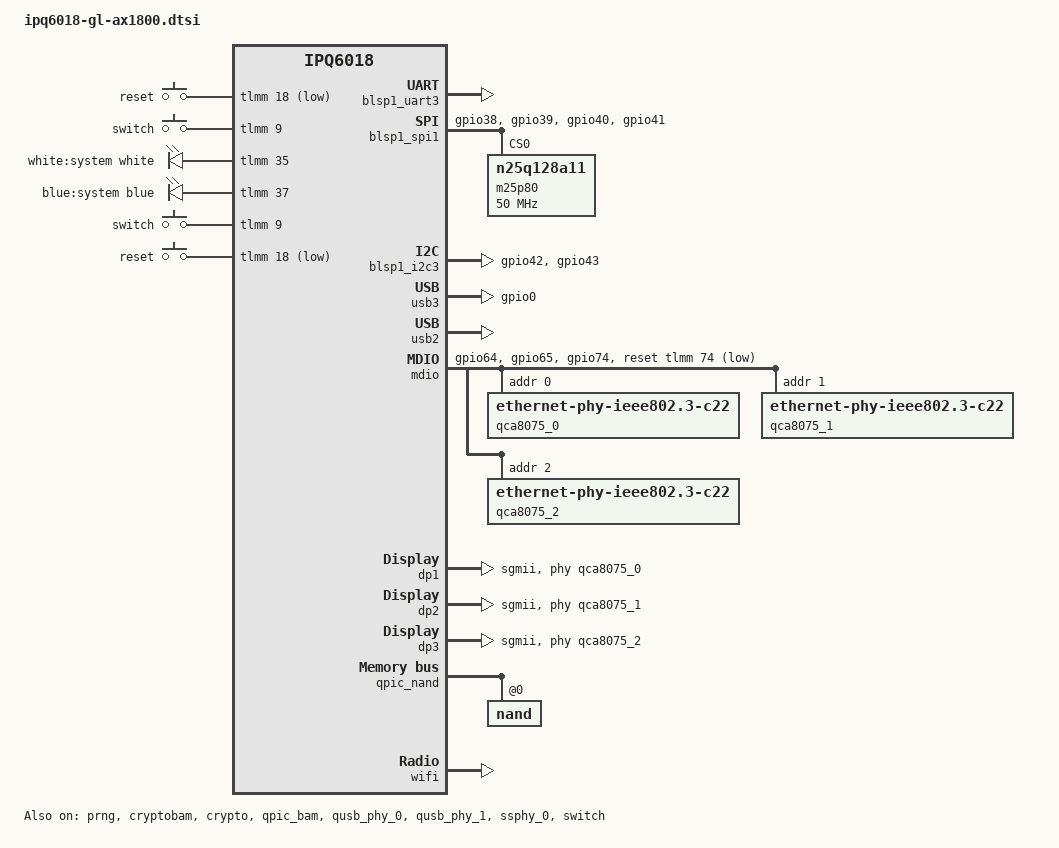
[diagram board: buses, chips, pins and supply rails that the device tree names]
/*
 * Copyright (c) 2019, The Linux Foundation. All rights reserved.
 *
 * Permission to use, copy, modify, and/or distribute this software for any
 * purpose with or without fee is hereby granted, provided that the above
 * copyright notice and this permission notice appear in all copies.
 *
 * THE SOFTWARE IS PROVIDED "AS IS" AND THE AUTHOR DISCLAIMS ALL WARRANTIES
 * WITH REGARD TO THIS SOFTWARE INCLUDING ALL IMPLIED WARRANTIES OF
 * MERCHANTABILITY AND FITNESS. IN NO EVENT SHALL THE AUTHOR BE LIABLE FOR
 * ANY SPECIAL, DIRECT, INDIRECT, OR CONSEQUENTIAL DAMAGES OR ANY DAMAGES
 * WHATSOEVER RESULTING FROM LOSS OF USE, DATA OR PROFITS, WHETHER IN AN
 * ACTION OF CONTRACT, NEGLIGENCE OR OTHER TORTIOUS ACTION, ARISING OUT OF
 * OR IN CONNECTION WITH THE USE OR PERFORMANCE OF THIS SOFTWARE.
 */

#include "ipq6018.dtsi"
#include "ipq6018-ess.dtsi"
#include "ipq6018-512m.dtsi"


#include <dt-bindings/input/input.h>
#include <dt-bindings/gpio/gpio.h>
#include <dt-bindings/leds/common.h>

/ {
	aliases {
		ethernet0 = &dp1;
		ethernet1 = &dp2;
		ethernet2 = &dp3;
		label-mac-device = &dp1;
        serial0 = &blsp1_uart3;
		led-boot = &led_system_white;
		led-failsafe = &led_system_white;
		led-running = &led_system_white;
		led-upgrade = &led_system_white;
	};

	/delete-node/ rpm-glink;

	chosen {
		stdout-path = "serial0:115200n8";
		bootargs-append = " root=/dev/ubiblock0_1";
	};


    keys {
        compatible = "gpio-keys";

        reset {
            label = "reset";
            gpios = <&tlmm 18 GPIO_ACTIVE_LOW>;
            linux,code = <KEY_RESTART>;
        };

        switch {
            label = "switch";
            gpios = <&tlmm 9 GPIO_ACTIVE_HIGH>;
			linux,code = <KEY_WPS_BUTTON>;
		};
    };

    leds {
        compatible = "gpio-leds";

        led_system_white: system-white {
            label = "white:system";
            gpios = <&tlmm 35 GPIO_ACTIVE_HIGH>;
            color = <LED_COLOR_ID_WHITE>;
        };

        led_system_blue: system-blue {
            label = "blue:system";
            gpios = <&tlmm 37 GPIO_ACTIVE_HIGH>;
            color = <LED_COLOR_ID_BLUE>;
        };
    };
};

&tlmm {
	gpio-reserved-ranges = <20 1>;

	spi_1_pins: spi_1_pins {
		mux {
			pins = "gpio38", "gpio39", "gpio40", "gpio41";
			function = "blsp0_spi";
			drive-strength = <8>;
			bias-pull-down;
		};
	};

	button_pins: button_pins {
		switch_button {
			pins = "gpio9";
			function = "gpio";
			drive-strength = <8>;
			bias-pull-up;
		};
		reset_button {
			pins = "gpio18";
			function = "gpio";
			drive-strength = <8>;
			bias-pull-up;
		};
	};

	mdio_pins: mdio-pins {
		mdc {
			pins = "gpio64";
			function = "mdc";
			drive-strength = <8>;
			bias-pull-up;
		};

		mdio {
			pins = "gpio65";
			function = "mdio";
			drive-strength = <8>;
			bias-pull-up;
		};

		mux_2 {
			pins = "gpio74";
			function = "gpio";
			bias-pull-up;
		};
	};

	usb_power_pins: usb_power_pins {
		mux {
			pins = "gpio0";
			function = "gpio";
			bias-pull-up;
			output-high;
		};
	};

	leds_pins: leds_pins {
		white {
			pins = "gpio35";
			function = "gpio";
			drive-strength = <8>;
			bias-pull-down;
		};
		blue {
			pins = "gpio37";
			function = "gpio";
			drive-strength = <8>;
			bias-pull-down;
		};
	};

	i2c_1_pins: i2c_1_pins {
		mux {
			pins = "gpio42", "gpio43";
			function = "blsp2_i2c";
			drive-strength = <8>;
			bias-pull-down;
		};
	};
};

&blsp1_uart3 {
	pinctrl-0 = <&serial_3_pins>;
	pinctrl-names = "default";
	status = "okay";
};

&blsp1_spi1 {
	pinctrl-0 = <&spi_1_pins>;
	pinctrl-names = "default";
	cs-select = <0>;
	status = "okay";

	m25p80@0 {
		#address-cells = <1>;
		#size-cells = <1>;
		reg = <0>;
		compatible = "n25q128a11";
		linux,modalias = "m25p80", "n25q128a11";
		spi-max-frequency = <50000000>;
		use-default-sizes;
	};
};

&blsp1_i2c3 {
	pinctrl-0 = <&i2c_1_pins>;
	pinctrl-names = "default";
	status = "okay";
};

&prng {
	status = "okay";
};

&cryptobam {
	status = "okay";
};

&crypto {
	status = "okay";
};

&qpic_bam {
	status = "okay";
};

&qusb_phy_0 {
	status = "okay";
};

&qusb_phy_1 {
	status = "okay";
};


&ssphy_0 {
	status = "okay";
};

&usb3 {
	pinctrl-0 = <&usb_power_pins>;
	pinctrl-names = "default";
	status = "okay";
};

&usb2 {
	status = "okay";
};

&edma {
	status = "okay";
};

&mdio {
	status = "okay";

	pinctrl-0 = <&mdio_pins>;
	pinctrl-names = "default";
	reset-gpios = <&tlmm 74 GPIO_ACTIVE_LOW>;

	qca8075_0: ethernet-phy@0 {
		compatible = "ethernet-phy-ieee802.3-c22";
		reg = <0>;
	};

	qca8075_1: ethernet-phy@1 {
		compatible = "ethernet-phy-ieee802.3-c22";
		reg = <1>;
	};

	qca8075_2: ethernet-phy@2 {
		compatible = "ethernet-phy-ieee802.3-c22";
		reg = <2>;
	};

};

&switch {
	status = "okay";

	switch_cpu_bmp = <0x1>;  /* cpu port bitmap */
	switch_lan_bmp = <0x0c>; /* lan port bitmap */
	switch_wan_bmp = <0x02>; /* wan port bitmap */
	switch_mac_mode = <0x0>; /* mac mode for uniphy instance0*/
	switch_mac_mode1 = <0xff>; /* mac mode for uniphy instance1*/
	switch_mac_mode2 = <0xff>; /* mac mode for uniphy instance2*/
	qcom,port_phyinfo {
		port@0 {
			port_id = <1>;
			phy_address = <0>;
		};
		port@1 {
			port_id = <2>;
			phy_address = <1>;
		};
		port@2 {
			port_id = <3>;
			phy_address = <2>;
		};
	};
};

&soc {
    dp1: dp@1 {
		device_type = "network";
		compatible = "qcom,nss-dp";
		reg = <0x0 0x3a001000 0x0 0x200>;
		qcom,mactype = <0>;
		local-mac-address = [000000000000];
		qcom,id = <1>;
		phy-handle = <&qca8075_0>;
		phy-mode = "sgmii";
	};

    dp2: dp@2 {
		device_type = "network";
		compatible = "qcom,nss-dp";
		reg = <0x0 0x3a001200 0x0 0x200>;
		qcom,mactype = <0>;
		local-mac-address = [000000000000];
		qcom,id = <2>;
		phy-handle = <&qca8075_1>;
		phy-mode = "sgmii";
	};

    dp3: dp@3 {
		device_type = "network";
		compatible = "qcom,nss-dp";
		reg = <0x0 0x3a001400 0x0 0x200>;
		qcom,mactype = <0>;
		local-mac-address = [000000000000];
		qcom,id = <3>;
		phy-handle = <&qca8075_2>;
		phy-mode = "sgmii";
	};

	gpio_keys {
		compatible = "gpio-keys";
		pinctrl-0 = <&button_pins>;
		pinctrl-names = "default";

		switch {
			label = "switch";
			linux,code = <KEY_WPS_BUTTON>;
			gpios = <&tlmm 9 GPIO_ACTIVE_HIGH>;
			linux,input-type = <1>;
			debounce-interval = <60>;
		};
		reset {
			label = "reset";
			linux,code = <KEY_RESTART>;
			gpios = <&tlmm 18 GPIO_ACTIVE_LOW>;
			linux,input-type = <1>;
			debounce-interval = <60>;
		};
	};

};

&qpic_bam {
	status = "okay";
};

&qpic_nand {
	status = "okay";

	nand@0 {
		reg = <0>;

		nand-ecc-strength = <4>;
		nand-ecc-step-size = <512>;
		nand-bus-width = <8>;

        partitions {
			compatible = "qcom,smem-part";
		};
	};
};


&wifi {
	status = "okay";

	qcom,ath11k-fw-memory-mode = <1>;
 };


&CPU0 {
	/delete-property/ cpu-supply;
};

&CPU1 {
	/delete-property/ cpu-supply;
};

&CPU2 {
	/delete-property/ cpu-supply;
};

&CPU3 {
	/delete-property/ cpu-supply;
};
